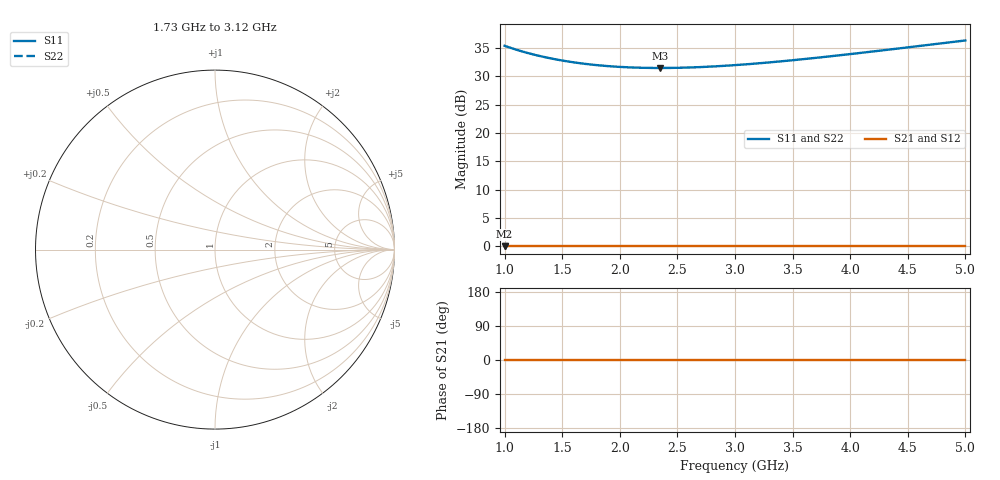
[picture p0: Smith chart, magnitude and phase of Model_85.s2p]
# GHZ S RI R 50
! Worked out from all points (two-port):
!   401 points, 1 GHz to 5 GHz, reference 50 ohm
!   highest |S21| = 0.00 dB at 1 GHz (marker M1); lowest = 0.0 dB at 1 GHz (marker M2)
!   |S21| within 3 dB of the highest: start of sweep to end of sweep
!   lowest |S11| = 31.5 dB at 2.35 GHz (marker M3)
!   |S11| at or under -10 dB: nowhere
!   |S22| runs from 31.5 to 36.3 dB; largest |S21 - S12| = 0
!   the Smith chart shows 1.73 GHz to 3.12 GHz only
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1  58.69 0  1 0  1 0  58.69 0
1.02  57.73 0  1 0  1 0  57.73 0
1.15  52.41 0  1 0  1 0  52.41 0
1.22  50.09 0  1 0  1 0  50.09 0
1.3  47.82 0  1 0  1 0  47.82 0
1.38  45.88 0  1 0  1 0  45.88 0
1.47  44.05 0  1 0  1 0  44.05 0
1.57  42.36 0  1 0  1 0  42.36 0
1.67  41 0  1 0  1 0  41 0
1.82  39.44 0  1 0  1 0  39.44 0
1.98  38.33 0  1 0  1 0  38.33 0
2.15  37.64 0  1 0  1 0  37.64 0
2.34  37.39 0  1 0  1 0  37.39 0
2.35  37.39 0  1 0  1 0  37.39 0
2.66  37.94 0  1 0  1 0  37.94 0
3  39.63 0  1 0  1 0  39.63 0
3.33  42.16 0  1 0  1 0  42.16 0
3.67  45.57 0  1 0  1 0  45.57 0
4  49.58 0  1 0  1 0  49.58 0
4.34  54.37 0  1 0  1 0  54.37 0
4.64  59.12 0  1 0  1 0  59.12 0
5  65.43 0  1 0  1 0  65.43 0
